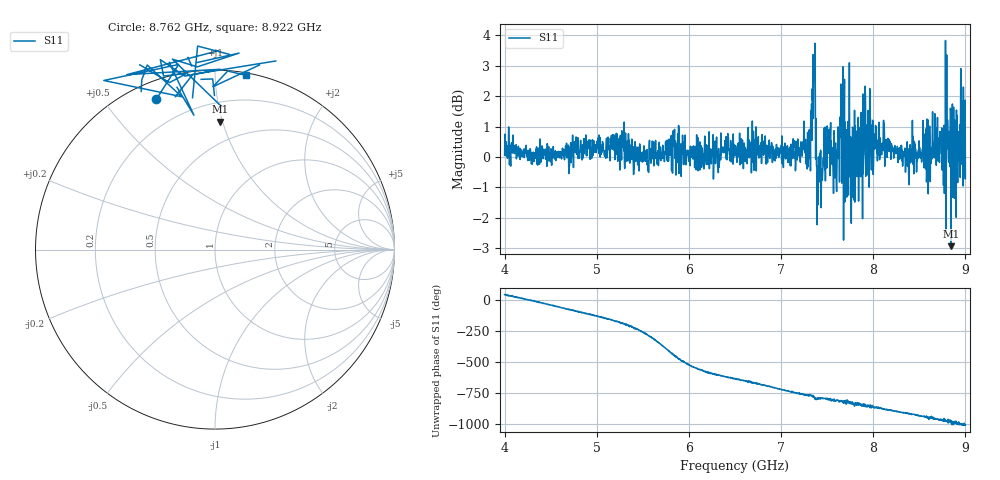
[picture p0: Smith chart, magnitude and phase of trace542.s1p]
! Created with skrf 1.8.0 (http://scikit-rf.org).
# Hz S RI R 50.0
!freq ReS11 ImS11
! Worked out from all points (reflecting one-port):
!   1601 points, 4 GHz to 9 GHz, reference 50 ohm
!   lowest |S11| = -2.9 dB at 8.844 GHz (marker M1), VSWR 5.99, Z = 16.9 + j49.1 ohm
!   phase of S11 starts at 45 deg and turns -1053 deg over the sweep
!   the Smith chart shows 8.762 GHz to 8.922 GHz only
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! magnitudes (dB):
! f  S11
! 4 GHz  0.1
! 4.625 GHz  0.1
! 5.25 GHz  -0.4
! 5.875 GHz  -0.1
! 6.5 GHz  0.2
! 7.125 GHz  0.4
! 7.294 GHz  0.0
! 7.347 GHz  3.4
! 7.362 GHz  2.9
! 7.397 GHz  -1.5
! 7.412 GHz  -0.8
! 7.519 GHz  0.1
! 7.588 GHz  -0.3
! 7.662 GHz  0.1
! 7.703 GHz  -1.0
! 7.75 GHz  -0.3
! 7.769 GHz  -1.1
! 7.822 GHz  -0.6
! 7.875 GHz  0.4
! 7.928 GHz  1.0
! 8.375 GHz  -0.2
! 8.656 GHz  0.4
! 8.766 GHz  0.4
! 8.8 GHz  0.7
! 8.844 GHz  -2.9
! 8.956 GHz  0.2
! 8.972 GHz  0.0
! 9 GHz  -0.7
